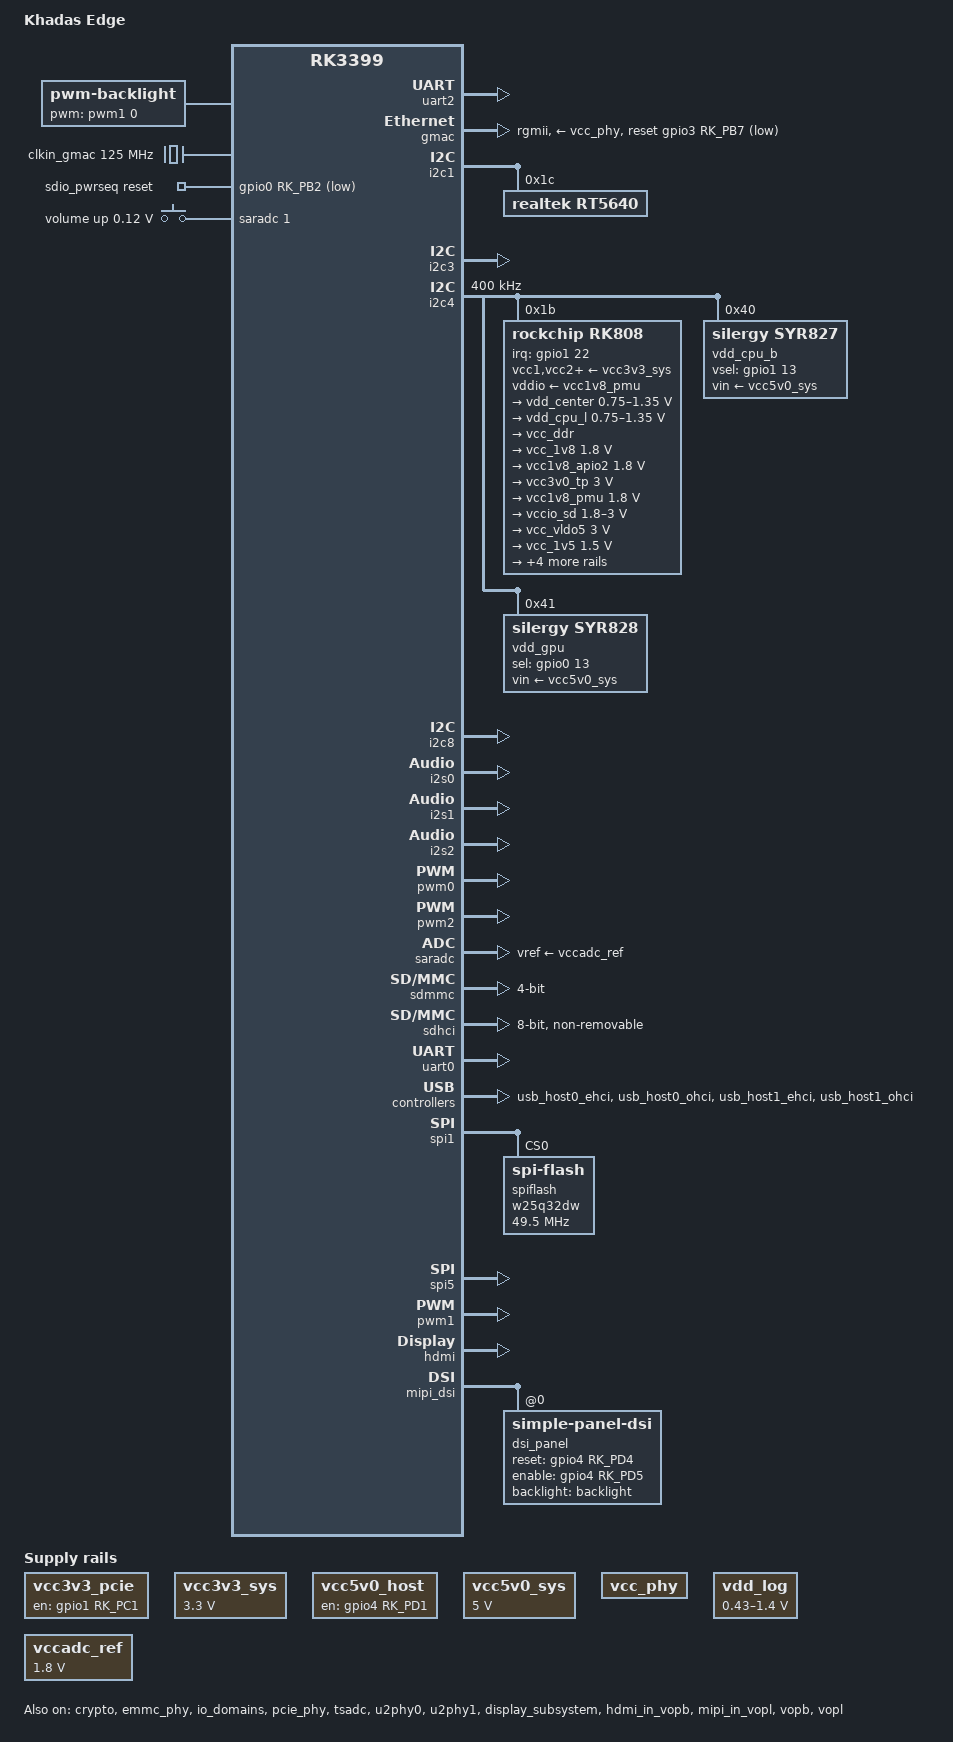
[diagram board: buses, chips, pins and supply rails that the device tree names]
/*
 * Copyright (c) 2018 Wesion Co., Ltd.
 *
 * SPDX-License-Identifier:     GPL-2.0+
 */

/dts-v1/;
#include <dt-bindings/pwm/pwm.h>
#include <dt-bindings/pinctrl/rockchip.h>
#include <dt-bindings/input/input.h>
#include <dt-bindings/media/rockchip_mipi_dsi.h>
#include "rk3399.dtsi"
#include "rk3399-sdram-ddr3-1600.dtsi"
#include "rk3399-u-boot.dtsi"

/ {
	model = "Khadas Edge";
	compatible = "khadas,edge", "rockchip,rk3399";

	aliases {
		spi0 = &spi1;
		spi1 = &spi5;
	};

	backlight: backlight {
		compatible = "pwm-backlight";
		//enable-gpios = <&gpio1 RK_PB5 GPIO_ACTIVE_HIGH>;
		pwms = <&pwm1 0 25000 0>;
		brightness-levels = <
			  0   1   2   3   4   5   6   7
			  8   9  10  11  12  13  14  15
			 16  17  18  19  20  21  22  23
			 24  25  26  27  28  29  30  31
			 32  33  34  35  36  37  38  39
			 40  41  42  43  44  45  46  47
			 48  49  50  51  52  53  54  55
			 56  57  58  59  60  61  62  63
			 64  65  66  67  68  69  70  71
			 72  73  74  75  76  77  78  79
			 80  81  82  83  84  85  86  87
			 88  89  90  91  92  93  94  95
			 96  97  98  99 100 101 102 103
			104 105 106 107 108 109 110 111
			112 113 114 115 116 117 118 119
			120 121 122 123 124 125 126 127
			128 129 130 131 132 133 134 135
			136 137 138 139 140 141 142 143
			144 145 146 147 148 149 150 151
			152 153 154 155 156 157 158 159
			160 161 162 163 164 165 166 167
			168 169 170 171 172 173 174 175
			176 177 178 179 180 181 182 183
			184 185 186 187 188 189 190 191
			192 193 194 195 196 197 198 199
			200 201 202 203 204 205 206 207
			208 209 210 211 212 213 214 215
			216 217 218 219 220 221 222 223
			224 225 226 227 228 229 230 231
			232 233 234 235 236 237 238 239
			240 241 242 243 244 245 246 247
			248 249 250 251 252 253 254 255>;
		default-brightness-level = <200>;
	};

	clkin_gmac: external-gmac-clock {
		compatible = "fixed-clock";
		clock-frequency = <125000000>;
		clock-output-names = "clkin_gmac";
		#clock-cells = <0>;
	};

	rt5640-sound {
		compatible = "simple-audio-card";
		simple-audio-card,name = "rockchip,rt5640-codec";
		simple-audio-card,format = "i2s";
		simple-audio-card,mclk-fs = <256>;
		simple-audio-card,widgets =
			"Microphone", "Mic Jack",
			"Headphone", "Headphone Jack";
		simple-audio-card,routing =
			"Mic Jack", "MICBIAS1",
			"IN1P", "Mic Jack",
			"Headphone Jack", "HPOL",
			"Headphone Jack", "HPOR";

		simple-audio-card,cpu {
			sound-dai = <&i2s1>;
		};

		simple-audio-card,codec {
			sound-dai = <&rt5640>;
		};
	};

	sdio_pwrseq: sdio-pwrseq {
		compatible = "mmc-pwrseq-simple";
		clocks = <&rk808 1>;
		clock-names = "ext_clock";
		pinctrl-names = "default";
		pinctrl-0 = <&wifi_enable_h>;

		/*
		 * On the module itself this is one of these (depending
		 * on the actual card populated):
		 * - SDIO_RESET_L_WL_REG_ON
		 * - PDN (power down when low)
		 */
		reset-gpios = <&gpio0 RK_PB2 GPIO_ACTIVE_LOW>;
	};

	vcc3v3_pcie: vcc3v3-pcie-regulator {
		compatible = "regulator-fixed";
		enable-active-high;
		gpio = <&gpio1 RK_PC1 GPIO_ACTIVE_HIGH>;
		pinctrl-names = "default";
		pinctrl-0 = <&pcie_drv>;
		regulator-name = "vcc3v3_pcie";
		regulator-always-on;
		regulator-boot-on;
	};

	vcc3v3_sys: vcc3v3-sys {
		compatible = "regulator-fixed";
		regulator-name = "vcc3v3_sys";
		regulator-always-on;
		regulator-boot-on;
		regulator-min-microvolt = <3300000>;
		regulator-max-microvolt = <3300000>;
	};

	vcc5v0_host: vcc5v0-host-regulator {
		compatible = "regulator-fixed";
		enable-active-high;
		gpio = <&gpio4 RK_PD1 GPIO_ACTIVE_HIGH>;
		pinctrl-names = "default";
		pinctrl-0 = <&host_vbus_drv>;
		regulator-name = "vcc5v0_host";
		regulator-always-on;
	};

	vcc5v0_sys: vcc5v0-sys {
		compatible = "regulator-fixed";
		regulator-name = "vcc5v0_sys";
		regulator-always-on;
		regulator-boot-on;
		regulator-min-microvolt = <5000000>;
		regulator-max-microvolt = <5000000>;
	};

	vcc_phy: vcc-phy-regulator {
		compatible = "regulator-fixed";
		regulator-name = "vcc_phy";
		regulator-always-on;
		regulator-boot-on;
	};

	vdd_log: vdd-log {
		compatible = "pwm-regulator";
		pwms = <&pwm2 0 25000 1>;
		regulator-name = "vdd_log";
		regulator-always-on;
		regulator-boot-on;
		regulator-min-microvolt = <430000>;
		regulator-max-microvolt = <1400000>;
		regulator-init-microvolt = <950000>;
	};

	vccadc_ref: vccadc-ref {
		compatible = "regulator-fixed";
		regulator-name = "vcc1v8_sys";
		regulator-always-on;
		regulator-boot-on;
		regulator-min-microvolt = <1800000>;
		regulator-max-microvolt = <1800000>;
	};

	adc-keys {
		u-boot,dm-pre-reloc;
		compatible = "adc-keys";
		io-channels = <&saradc 1>;
		io-channel-names = "download";
		keyup-threshold-microvolt = <1800000>;

		vol-up-key {
			u-boot,dm-pre-reloc;
			linux,code = <KEY_VOLUMEUP>;
			label = "volume up";
			press-threshold-microvolt = <120000>;
		};
	};
};

&cpu_l0 {
	cpu-supply = <&vdd_cpu_l>;
};

&cpu_l1 {
	cpu-supply = <&vdd_cpu_l>;
};

&cpu_l2 {
	cpu-supply = <&vdd_cpu_l>;
};

&cpu_l3 {
	cpu-supply = <&vdd_cpu_l>;
};

&cpu_b0 {
	cpu-supply = <&vdd_cpu_b>;
};

&cpu_b1 {
	cpu-supply = <&vdd_cpu_b>;
};

&crypto {
	status = "okay";
};

&uart2 {
	status = "okay";
};

&emmc_phy {
	status = "okay";
};

&gmac {
	assigned-clocks = <&cru SCLK_RMII_SRC>;
	assigned-clock-parents = <&clkin_gmac>;
	clock_in_out = "input";
	phy-supply = <&vcc_phy>;
	phy-mode = "rgmii";
	pinctrl-names = "default";
	pinctrl-0 = <&rgmii_pins>;
	snps,reset-gpio = <&gpio3 RK_PB7 GPIO_ACTIVE_LOW>;
	snps,reset-active-low;
	snps,reset-delays-us = <0 10000 50000>;
	tx_delay = <0x33>;
	rx_delay = <0x45>;
	status = "okay";
};

&i2c1 {
	i2c-scl-rising-time-ns = <300>;
	i2c-scl-falling-time-ns = <15>;
	status = "okay";

	rt5640: rt5640@1c {
		compatible = "realtek,rt5640";
		reg = <0x1c>;
		clocks = <&cru SCLK_I2S_8CH_OUT>;
		clock-names = "mclk";
		realtek,in1-differential;
		#sound-dai-cells = <0>;
		pinctrl-names = "default";
		pinctrl-0 = <&rt5640_hpcon>;
	};
};

&i2c3 {
	i2c-scl-rising-time-ns = <450>;
	i2c-scl-falling-time-ns = <15>;
	status = "okay";
};

&i2c4 {
	clock-frequency = <400000>;
	i2c-scl-rising-time-ns = <168>;
	i2c-scl-falling-time-ns = <4>;
	status = "okay";

	rk808: pmic@1b {
		compatible = "rockchip,rk808";
		reg = <0x1b>;
		interrupt-parent = <&gpio1>;
		interrupts = <22 IRQ_TYPE_LEVEL_LOW>;
		pinctrl-names = "default";
		pinctrl-0 = <&pmic_int_l &pmic_dvs2>;
		rockchip,system-power-controller;
		wakeup-source;
		#clock-cells = <1>;
		clock-output-names = "rk808-clkout1", "rk808-clkout2";

		vcc1-supply = <&vcc3v3_sys>;
		vcc2-supply = <&vcc3v3_sys>;
		vcc3-supply = <&vcc3v3_sys>;
		vcc4-supply = <&vcc3v3_sys>;
		vcc6-supply = <&vcc3v3_sys>;
		vcc7-supply = <&vcc3v3_sys>;
		vcc8-supply = <&vcc3v3_sys>;
		vcc9-supply = <&vcc3v3_sys>;
		vcc10-supply = <&vcc3v3_sys>;
		vcc11-supply = <&vcc3v3_sys>;
		vcc12-supply = <&vcc3v3_sys>;
		vddio-supply = <&vcc1v8_pmu>;

		regulators {
			vdd_center: DCDC_REG1 {
				regulator-always-on;
				regulator-boot-on;
				regulator-min-microvolt = <750000>;
				regulator-max-microvolt = <1350000>;
				regulator-ramp-delay = <6001>;
				regulator-name = "vdd_center";
				regulator-state-mem {
					regulator-off-in-suspend;
				};
			};

			vdd_cpu_l: DCDC_REG2 {
				regulator-always-on;
				regulator-boot-on;
				regulator-min-microvolt = <750000>;
				regulator-max-microvolt = <1350000>;
				regulator-ramp-delay = <6001>;
				regulator-name = "vdd_cpu_l";
				regulator-state-mem {
					regulator-off-in-suspend;
				};
			};

			vcc_ddr: DCDC_REG3 {
				regulator-always-on;
				regulator-boot-on;
				regulator-name = "vcc_ddr";
				regulator-state-mem {
					regulator-on-in-suspend;
				};
			};

			vcc_1v8: DCDC_REG4 {
				regulator-always-on;
				regulator-boot-on;
				regulator-min-microvolt = <1800000>;
				regulator-max-microvolt = <1800000>;
				regulator-name = "vcc_1v8";
				regulator-state-mem {
					regulator-on-in-suspend;
					regulator-suspend-microvolt = <1800000>;
				};
			};

			vcc1v8_apio2: LDO_REG1 {
				regulator-always-on;
				regulator-boot-on;
				regulator-min-microvolt = <1800000>;
				regulator-max-microvolt = <1800000>;
				regulator-name = "vcc1v8_apio2";
				regulator-state-mem {
					regulator-off-in-suspend;
				};
			};

			vcc3v0_tp: LDO_REG2 {
				regulator-always-on;
				regulator-boot-on;
				regulator-min-microvolt = <3000000>;
				regulator-max-microvolt = <3000000>;
				regulator-name = "vcc3v0_tp";
				regulator-state-mem {
					regulator-off-in-suspend;
				};
			};

			vcc1v8_pmu: LDO_REG3 {
				regulator-always-on;
				regulator-boot-on;
				regulator-min-microvolt = <1800000>;
				regulator-max-microvolt = <1800000>;
				regulator-name = "vcc1v8_pmu";
				regulator-state-mem {
					regulator-on-in-suspend;
					regulator-suspend-microvolt = <1800000>;
				};
			};

			vccio_sd: LDO_REG4 {
				regulator-always-on;
				regulator-boot-on;
				regulator-min-microvolt = <1800000>;
				regulator-max-microvolt = <3000000>;
				regulator-name = "vccio_sd";
				regulator-state-mem {
					regulator-on-in-suspend;
					regulator-suspend-microvolt = <3000000>;
				};
			};

			vcc_vldo5: LDO_REG5 {
				regulator-always-on;
				regulator-boot-on;
				regulator-min-microvolt = <3000000>;
				regulator-max-microvolt = <3000000>;
				regulator-name = "vcc_vldo5";
				regulator-state-mem {
					regulator-off-in-suspend;
				};
			};

			vcc_1v5: LDO_REG6 {
				regulator-always-on;
				regulator-boot-on;
				regulator-min-microvolt = <1500000>;
				regulator-max-microvolt = <1500000>;
				regulator-name = "vcc_1v5";
				regulator-state-mem {
					regulator-on-in-suspend;
					regulator-suspend-microvolt = <1500000>;
				};
			};

			vcca1v8_codec: LDO_REG7 {
				regulator-always-on;
				regulator-boot-on;
				regulator-min-microvolt = <1800000>;
				regulator-max-microvolt = <1800000>;
				regulator-name = "vcca1v8_codec";
				regulator-state-mem {
					regulator-off-in-suspend;
				};
			};

			vcc_3v0: LDO_REG8 {
				regulator-always-on;
				regulator-boot-on;
				regulator-min-microvolt = <3000000>;
				regulator-max-microvolt = <3000000>;
				regulator-name = "vcc_3v0";
				regulator-state-mem {
					regulator-on-in-suspend;
					regulator-suspend-microvolt = <3000000>;
				};
			};

			vcc3v3_s3: SWITCH_REG1 {
				regulator-always-on;
				regulator-boot-on;
				regulator-name = "vcc3v3_s3";
				regulator-state-mem {
					regulator-off-in-suspend;
				};
			};

			vcc3v3_s0: SWITCH_REG2 {
				regulator-always-on;
				regulator-boot-on;
				regulator-name = "vcc3v3_s0";
				regulator-state-mem {
					regulator-off-in-suspend;
				};
			};
		};
	};

	vdd_cpu_b: syr827@40 {
		compatible = "silergy,syr827";
		reg = <0x40>;
		vin-supply = <&vcc5v0_sys>;
		regulator-compatible = "fan53555-reg";
		pinctrl-names = "default";
		pinctrl-0 = <&vsel1_gpio>;
		vsel-gpios = <&gpio1 13 GPIO_ACTIVE_HIGH>; /* GPIO1_B5 */
		regulator-name = "vdd_cpu_b";
		regulator-min-microvolt = <712500>;
		regulator-max-microvolt = <1500000>;
		regulator-ramp-delay = <1000>;
		fcs,suspend-voltage-selector = <1>;
		regulator-always-on;
		regulator-boot-on;
		regulator-initial-state = <3>;
			regulator-state-mem {
			regulator-off-in-suspend;
		};
	};

	vdd_gpu: syr828@41 {
		compatible = "silergy,syr828";
		reg = <0x41>;
		vin-supply = <&vcc5v0_sys>;
		regulator-compatible = "fan53555-reg";
		pinctrl-names = "default";
		pinctrl-0 = <&vsel2_gpio>;
		sel-gpios = <&gpio0 13 GPIO_ACTIVE_HIGH>;/* GPIO0_B5 */
		regulator-name = "vdd_gpu";
		regulator-min-microvolt = <712500>;
		regulator-max-microvolt = <1500000>;
		regulator-ramp-delay = <1000>;
		fcs,suspend-voltage-selector = <1>;
		regulator-always-on;
		regulator-boot-on;
		regulator-initial-state = <3>;
			regulator-state-mem {
			regulator-off-in-suspend;
		};
	};
};

&i2c8 {
	status = "okay";
};

&i2s0 {
	rockchip,playback-channels = <8>;
	rockchip,capture-channels = <8>;
	#sound-dai-cells = <0>;
	status = "okay";
};

&i2s1 {
	rockchip,playback-channels = <2>;
	rockchip,capture-channels = <2>;
	#sound-dai-cells = <0>;
	status = "okay";
};

&i2s2 {
	#sound-dai-cells = <0>;
	status = "okay";
};

&io_domains {
	status = "okay";

	bt656-supply = <&vcc1v8_apio2>;
	audio-supply = <&vcca1v8_codec>;
	sdmmc-supply = <&vccio_sd>;
	gpio1830-supply = <&vcc_3v0>;
};

&pcie_phy {
	status = "okay";
};

//&pcie0 {
//	ep-gpios = <&gpio4 RK_PD1 GPIO_ACTIVE_HIGH>;
//	num-lanes = <4>;
//	pinctrl-names = "default";
//	pinctrl-0 = <&pcie_clkreqn>;
//	status = "okay";
//};

&pmu_io_domains {
	pmu1830-supply = <&vcc_1v8>;
	status = "okay";
};

&pinctrl {
	buttons {
		pwrbtn: pwrbtn {
			rockchip,pins = <0 RK_PA5 RK_FUNC_GPIO &pcfg_pull_up>;
		};
	};

	lcd-panel {
		lcd_panel_reset: lcd-panel-reset {
			rockchip,pins = <4 RK_PD6 RK_FUNC_GPIO &pcfg_pull_up>;
		};
	};

	pcie {
		pcie_drv: pcie-drv {
			rockchip,pins = <1 RK_PC1 RK_FUNC_GPIO &pcfg_pull_none>;
		};

		pcie_3g_drv: pcie-3g-drv {
			rockchip,pins = <0 RK_PA2 RK_FUNC_GPIO &pcfg_pull_up>;
		};
	};

	pmic {
		vsel1_gpio: vsel1-gpio {
			rockchip,pins = <1 RK_PB5 RK_FUNC_GPIO &pcfg_pull_down>;
		};

		vsel2_gpio: vsel2-gpio {
			rockchip,pins = <0 RK_PB5 RK_FUNC_GPIO &pcfg_pull_down>;
		};
	};

	sdio-pwrseq {
		wifi_enable_h: wifi-enable-h {
			rockchip,pins = <0 RK_PB2 RK_FUNC_GPIO &pcfg_pull_none>;
		};
	};

	rt5640 {
		rt5640_hpcon: rt5640-hpcon {
			rockchip,pins = <4 RK_PC5 RK_FUNC_GPIO &pcfg_pull_none>;
		};
	};

	pmic {
		pmic_int_l: pmic-int-l {
			rockchip,pins =
				<1 22 RK_FUNC_GPIO &pcfg_pull_up>;
		};

		pmic_dvs2: pmic-dvs2 {
			rockchip,pins =
				<1 18 RK_FUNC_GPIO &pcfg_pull_down>;
		};
		vsel1_gpio: vsel1-gpio {
			rockchip,pins =
				<1 13 RK_FUNC_GPIO &pcfg_pull_down>;
		};
		vsel2_gpio: vsel2-gpio {
			rockchip,pins =
				 <0 13 RK_FUNC_GPIO &pcfg_pull_down>;
		};
	};

	usb2 {
		host_vbus_drv: host-vbus-drv {
			rockchip,pins = <4 RK_PD1 RK_FUNC_GPIO &pcfg_pull_up>;
		};
	};
};

&pwm0 {
	status = "okay";
};

&pwm2 {
	status = "okay";
};

&saradc {
	vref-supply = <&vccadc_ref>;
	status = "okay";
};

&sdmmc {
	bus-width = <4>;
	status = "okay";
};

&sdhci {
	bus-width = <8>;
	keep-power-in-suspend;
	mmc-hs400-1_8v;
	mmc-hs400-enhanced-strobe;
	non-removable;
	status = "okay";
};

&tsadc {
	/* tshut mode 0:CRU 1:GPIO */
	rockchip,hw-tshut-mode = <1>;
	/* tshut polarity 0:LOW 1:HIGH */
	rockchip,hw-tshut-polarity = <1>;
	status = "okay";
};

&u2phy0 {
	status = "okay";

	u2phy0_otg: otg-port {
		status = "okay";
	};

	u2phy0_host: host-port {
		phy-supply = <&vcc5v0_host>;
		status = "okay";
	};
};

&u2phy1 {
	status = "okay";

	u2phy1_otg: otg-port {
		status = "okay";
	};

	u2phy1_host: host-port {
		phy-supply = <&vcc5v0_host>;
		status = "okay";
	};
};

&uart0 {
	pinctrl-names = "default";
	pinctrl-0 = <&uart0_xfer &uart0_cts>;
	status = "okay";
};

&usb_host0_ehci {
	status = "okay";
};

&usb_host0_ohci {
	status = "okay";
};

&usb_host1_ehci {
	status = "okay";
};

&usb_host1_ohci {
	status = "okay";
};

&spi1 {
   u-boot,dm-pre-reloc;

   status = "okay";

   #address-cells = <1>;
   #size-cells = <0>;

   spiflash: w25q32dw@0 {
       u-boot,dm-pre-reloc;

       compatible = "spi-flash";
       reg = <0>;
       spi-max-frequency = <49500000>;
       spi-cpol;
       spi-cpha;
   };
};

&spi5 {
   status = "okay";
};

&pwm1 {
	status = "okay";
};

&display_subsystem {
    status = "okay";

    ports = <&vopb_out>, <&vopl_out>;
    route {
        route_hdmi: route-hdmi {
            status = "disabled";
            logo,uboot = "logo.bmp";
            logo,kernel = "logo_kernel.bmp";
            logo,mode = "center";
            charge_logo,mode = "center";
            connect = <&vopb_out_hdmi>;
        };

        route_dsi: route-dsi {
            status = "disabled";
            logo,uboot = "logo.bmp";
            logo,kernel = "logo_kernel.bmp";
            logo,mode = "center";
            charge_logo,mode = "center";
            connect = <&vopb_out_mipi>;
        };

        route_edp: route-edp {
            status = "disabled";
            logo,uboot = "logo.bmp";
            logo,kernel = "logo_kernel.bmp";
            logo,mode = "center";
            charge_logo,mode = "center";
            connect = <&vopb_out_edp>;
        };
    };
};


&hdmi {
	#address-cells = <1>;
	#size-cells = <0>;
	#sound-dai-cells = <0>;
	ddc-i2c-scl-high-time-ns = <9625>;
	ddc-i2c-scl-low-time-ns = <10000>;
	status = "okay";
};

&route_hdmi {
	status = "okay";
	connect = <&vopb_out_hdmi>;
};

&route_dsi {
	status = "okay";
	connect = <&vopl_out_mipi>;
};

&hdmi_in_vopb {
	status = "okay";
};

&hdmi_in_vopl {
	status = "disabled";
};

&mipi_in_vopb {
	status = "disabled";
};

&mipi_in_vopl {
	status = "okay";
};

&vopb {
	status = "okay";
//	assigned-clocks = <&cru DCLK_VOP0_DIV>;
//	assigned-clock-parents = <&cru PLL_VPLL>;
};

&vopl {
	status = "okay";
//	assigned-clocks = <&cru DCLK_VOP1_DIV>;
//	assigned-clock-parents = <&cru PLL_CPLL>;
};


&mipi_dsi {
	compatible = "rockchip,rk3399-mipi-dsi";
    status = "okay";
    rockchip,lane-rate = <1000>;
    dsi_panel: panel@0 {
        status = "okay";
        compatible = "simple-panel-dsi";
        reg = <0>;
        backlight = <&backlight>;
        reset-gpios = <&gpio4 RK_PD4 GPIO_ACTIVE_HIGH>; /* GPIO4_D4 */
        enable-gpios = <&gpio4 RK_PD5 GPIO_ACTIVE_HIGH>; /* GPIO4_D5 */
        reset-delay-ms = <10>;
        enable-delay-ms = <60>;
        prepare-delay-ms = <60>;
        unprepare-delay-ms = <60>;
        disable-delay-ms = <60>;
        dsi,flags = <(MIPI_DSI_MODE_VIDEO | MIPI_DSI_MODE_VIDEO_BURST |
                  MIPI_DSI_MODE_LPM | MIPI_DSI_MODE_EOT_PACKET)>;

		dsi,format = <MIPI_DSI_FMT_RGB888>;
        dsi,lanes  = <4>;
        panel-init-sequence = [
			15 00 02  FF 05
			15 00 02  FB 01
			15 64 02  C5 01
			15 00 02  FF EE
			15 00 02  FB 01
			15 00 02  1F 45
			15 00 02  24 4F
			15 00 02  38 C8
			15 00 02  39 27
			15 00 02  1E 77
			15 00 02  1D 0F
			15 00 02  7E 71
			15 00 02  7C 03
			15 00 02  FF 00
			15 00 02  FB 01
			15 00 02  35  01
			15 00 02  FF  01
			15 00 02  FB  01
			15 00 02  00  01
			15 00 02  01  55
			15 00 02  02  40
			15 00 02  05  40
			15 00 02  06  4A
			15 00 02  07  24
			15 00 02  08  0C
			15 00 02  0B  7D
			15 00 02  0C  7D
			15 00 02  0E  B0
			15 00 02  0F  AE
			15 00 02  11  10
			15 00 02  12  10
			15 00 02  13  03
			15 00 02  14  4A
			15 00 02  15  12
			15 00 02  16  12
			15 00 02  18  00
			15 00 02  19  77
			15 00 02  1A  55
			15 00 02  1B  13
			15 00 02  1C  00
			15 00 02  1D  00
			15 00 02  1E  13
			15 00 02  1F  00
			15 00 02  23  00
			15 00 02  24  00
			15 00 02  25  00
			15 00 02  26  00
			15 00 02  27  00
			15 00 02  28  00
			15 00 02  35  00
			15 00 02  66  00
			15 00 02  58  82
			15 00 02  59  02
			15 00 02  5A  02
			15 00 02  5B  02
			15 00 02  5C  82
			15 00 02  5D  82
			15 00 02  5E  02
			15 00 02  5F  02
			15 00 02  72  31
			15 00 02  FF  05
			15 00 02  FB  01
			15 00 02  00  01
			15 00 02  01  0B
			15 00 02  02  0C
			15 00 02  03  09
			15 00 02  04  0A
			15 00 02  05  00
			15 00 02  06  0F
			15 00 02  07  10
			15 00 02  08  00
			15 00 02  09  00
			15 00 02  0A  00
			15 00 02  0B  00
			15 00 02  0C  00
			15 00 02  0D  13
			15 00 02  0E  15
			15 00 02  0F  17
			15 00 02  10  01
			15 00 02  11  0B
			15 00 02  12  0C
			15 00 02  13  09
			15 00 02  14  0A
			15 00 02  15  00
			15 00 02  16  0F
			15 00 02  17  10
			15 00 02  18  00
			15 00 02  19  00
			15 00 02  1A  00
			15 00 02  1B  00
			15 00 02  1C  00
			15 00 02  1D  13
			15 00 02  1E  15
			15 00 02  1F  17
			15 00 02  20  00
			15 00 02  21  03
			15 00 02  22  01
			15 00 02  23  40
			15 00 02  24  40
			15 00 02  25  ED
			15 00 02  29  58
			15 00 02  2A  12
			15 00 02  2B  01
			15 00 02  4B  06
			15 00 02  4C  11
			15 00 02  4D  20
			15 00 02  4E  02
			15 00 02  4F  02
			15 00 02  50  20
			15 00 02  51  61
			15 00 02  52  01
			15 00 02  53  63
			15 00 02  54  77
			15 00 02  55  ED
			15 00 02  5B  00
			15 00 02  5C  00
			15 00 02  5D  00
			15 00 02  5E  00
			15 00 02  5F  15
			15 00 02  60  75
			15 00 02  61  00
			15 00 02  62  00
			15 00 02  63  00
			15 00 02  64  00
			15 00 02  65  00
			15 00 02  66  00
			15 00 02  67  00
			15 00 02  68  04
			15 00 02  69  00
			15 00 02  6A  00
			15 00 02  6C  40
			15 00 02  75  01
			15 00 02  76  01
			15 00 02  7A  80
			15 00 02  7B  A3
			15 00 02  7C  D8
			15 00 02  7D  60
			15 00 02  7F  15
			15 00 02  80  81
			15 00 02  83  05
			15 00 02  93  08
			15 00 02  94  10
			15 00 02  8A  00
			15 00 02  9B  0F
			15 00 02  EA  FF
			15 00 02  EC  00
			15 00 02  FF  01
			15 00 02  FB  01
			15 00 02  75  00
			15 00 02  76  DF
			15 00 02  77  00
			15 00 02  78  E4
			15 00 02  79  00
			15 00 02  7A  ED
			15 00 02  7B  00
			15 00 02  7C  F6
			15 00 02  7D  00
			15 00 02  7E  FF
			15 00 02  7F  01
			15 00 02  80  07
			15 00 02  81  01
			15 00 02  82  10
			15 00 02  83  01
			15 00 02  84  18
			15 00 02  85  01
			15 00 02  86  20
			15 00 02  87  01
			15 00 02  88  3D
			15 00 02  89  01
			15 00 02  8A  56
			15 00 02  8B  01
			15 00 02  8C  84
			15 00 02  8D  01
			15 00 02  8E  AB
			15 00 02  8F  01
			15 00 02  90  EC
			15 00 02  91  02
			15 00 02  92  22
			15 00 02  93  02
			15 00 02  94  23
			15 00 02  95  02
			15 00 02  96  55
			15 00 02  97  02
			15 00 02  98  8B
			15 00 02  99  02
			15 00 02  9A  AF
			15 00 02  9B  02
			15 00 02  9C  DF
			15 00 02  9D  03
			15 00 02  9E  01
			15 00 02  9F  03
			15 00 02  A0  2C
			15 00 02  A2  03
			15 00 02  A3  39
			15 00 02  A4  03
			15 00 02  A5  47
			15 00 02  A6  03
			15 00 02  A7  56
			15 00 02  A9  03
			15 00 02  AA  66
			15 00 02  AB  03
			15 00 02  AC  76
			15 00 02  AD  03
			15 00 02  AE  85
			15 00 02  AF  03
			15 00 02  B0  90
			15 00 02  B1  03
			15 00 02  B2  CB
			15 00 02  B3  00
			15 00 02  B4  DF
			15 00 02  B5  00
			15 00 02  B6  E4
			15 00 02  B7  00
			15 00 02  B8  ED
			15 00 02  B9  00
			15 00 02  BA  F6
			15 00 02  BB  00
			15 00 02  BC  FF
			15 00 02  BD  01
			15 00 02  BE  07
			15 00 02  BF  01
			15 00 02  C0  10
			15 00 02  C1  01
			15 00 02  C2  18
			15 00 02  C3  01
			15 00 02  C4  20
			15 00 02  C5  01
			15 00 02  C6  3D
			15 00 02  C7  01
			15 00 02  C8  56
			15 00 02  C9  01
			15 00 02  CA  84
			15 00 02  CB  01
			15 00 02  CC  AB
			15 00 02  CD  01
			15 00 02  CE  EC
			15 00 02  CF  02
			15 00 02  D0  22
			15 00 02  D1  02
			15 00 02  D2  23
			15 00 02  D3  02
			15 00 02  D4  55
			15 00 02  D5  02
			15 00 02  D6  8B
			15 00 02  D7  02
			15 00 02  D8  AF
			15 00 02  D9  02
			15 00 02  DA  DF
			15 00 02  DB  03
			15 00 02  DC  01
			15 00 02  DD  03
			15 00 02  DE  2C
			15 00 02  DF  03
			15 00 02  E0  39
			15 00 02  E1  03
			15 00 02  E2  47
			15 00 02  E3  03
			15 00 02  E4  56
			15 00 02  E5  03
			15 00 02  E6  66
			15 00 02  E7  03
			15 00 02  E8  76
			15 00 02  E9  03
			15 00 02  EA  85
			15 00 02  EB  03
			15 00 02  EC  90
			15 00 02  ED  03
			15 00 02  EE  CB
			15 00 02  EF  00
			15 00 02  F0  BB
			15 00 02  F1  00
			15 00 02  F2  C0
			15 00 02  F3  00
			15 00 02  F4  CC
			15 00 02  F5  00
			15 00 02  F6  D6
			15 00 02  F7  00
			15 00 02  F8  E1
			15 00 02  F9  00
			15 00 02  FA  EA
			15 00 02  FF  02
			15 00 02  FB  01
			15 00 02  00  00
			15 00 02  01  F4
			15 00 02  02  00
			15 00 02  03  EF
			15 00 02  04  01
			15 00 02  05  07
			15 00 02  06  01
			15 00 02  07  28
			15 00 02  08  01
			15 00 02  09  44
			15 00 02  0A  01
			15 00 02  0B  76
			15 00 02  0C  01
			15 00 02  0D  A0
			15 00 02  0E  01
			15 00 02  0F  E7
			15 00 02  10  02
			15 00 02  11  1F
			15 00 02  12  02
			15 00 02  13  22
			15 00 02  14  02
			15 00 02  15  54
			15 00 02  16  02
			15 00 02  17  8B
			15 00 02  18  02
			15 00 02  19  AF
			15 00 02  1A  02
			15 00 02  1B  E0
			15 00 02  1C  03
			15 00 02  1D  01
			15 00 02  1E  03
			15 00 02  1F  2D
			15 00 02  20  03
			15 00 02  21  39
			15 00 02  22  03
			15 00 02  23  47
			15 00 02  24  03
			15 00 02  25  57
			15 00 02  26  03
			15 00 02  27  65
			15 00 02  28  03
			15 00 02  29  77
			15 00 02  2A  03
			15 00 02  2B  85
			15 00 02  2D  03
			15 00 02  2F  8F
			15 00 02  30  03
			15 00 02  31  CB
			15 00 02  32  00
			15 00 02  33  BB
			15 00 02  34  00
			15 00 02  35  C0
			15 00 02  36  00
			15 00 02  37  CC
			15 00 02  38  00
			15 00 02  39  D6
			15 00 02  3A  00
			15 00 02  3B  E1
			15 00 02  3D  00
			15 00 02  3F  EA
			15 00 02  40  00
			15 00 02  41  F4
			15 00 02  42  00
			15 00 02  43  FE
			15 00 02  44  01
			15 00 02  45  07
			15 00 02  46  01
			15 00 02  47  28
			15 00 02  48  01
			15 00 02  49  44
			15 00 02  4A  01
			15 00 02  4B  76
			15 00 02  4C  01
			15 00 02  4D  A0
			15 00 02  4E  01
			15 00 02  4F  E7
			15 00 02  50  02
			15 00 02  51  1F
			15 00 02  52  02
			15 00 02  53  22
			15 00 02  54  02
			15 00 02  55  54
			15 00 02  56  02
			15 00 02  58  8B
			15 00 02  59  02
			15 00 02  5A  AF
			15 00 02  5B  02
			15 00 02  5C  E0
			15 00 02  5D  03
			15 00 02  5E  01
			15 00 02  5F  03
			15 00 02  60  2D
			15 00 02  61  03
			15 00 02  62  39
			15 00 02  63  03
			15 00 02  64  47
			15 00 02  65  03
			15 00 02  66  57
			15 00 02  67  03
			15 00 02  68  65
			15 00 02  69  03
			15 00 02  6A  77
			15 00 02  6B  03
			15 00 02  6C  85
			15 00 02  6D  03
			15 00 02  6E  8F
			15 00 02  6F  03
			15 00 02  70  CB
			15 00 02  71  00
			15 00 02  72  00
			15 00 02  73  00
			15 00 02  74  21
			15 00 02  75  00
			15 00 02  76  4C
			15 00 02  77  00
			15 00 02  78  6B
			15 00 02  79  00
			15 00 02  7A  85
			15 00 02  7B  00
			15 00 02  7C  9A
			15 00 02  7D  00
			15 00 02  7E  AD
			15 00 02  7F  00
			15 00 02  80  BE
			15 00 02  81  00
			15 00 02  82  CD
			15 00 02  83  01
			15 00 02  84  01
			15 00 02  85  01
			15 00 02  86  29
			15 00 02  87  01
			15 00 02  88  68
			15 00 02  89  01
			15 00 02  8A  98
			15 00 02  8B  01
			15 00 02  8C  E5
			15 00 02  8D  02
			15 00 02  8E  1E
			15 00 02  8F  02
			15 00 02  90  30
			15 00 02  91  02
			15 00 02  92  52
			15 00 02  93  02
			15 00 02  94  88
			15 00 02  95  02
			15 00 02  96  AA
			15 00 02  97  02
			15 00 02  98  D7
			15 00 02  99  02
			15 00 02  9A  F7
			15 00 02  9B  03
			15 00 02  9C  21
			15 00 02  9D  03
			15 00 02  9E  2E
			15 00 02  9F  03
			15 00 02  A0  3D
			15 00 02  A2  03
			15 00 02  A3  4C
			15 00 02  A4  03
			15 00 02  A5  5E
			15 00 02  A6  03
			15 00 02  A7  71
			15 00 02  A9  03
			15 00 02  AA  86
			15 00 02  AB  03
			15 00 02  AC  94
			15 00 02  AD  03
			15 00 02  AE  FA
			15 00 02  AF  00
			15 00 02  B0  00
			15 00 02  B1  00
			15 00 02  B2  21
			15 00 02  B3  00
			15 00 02  B4  4C
			15 00 02  B5  00
			15 00 02  B6  6B
			15 00 02  B7  00
			15 00 02  B8  85
			15 00 02  B9  00
			15 00 02  BA  9A
			15 00 02  BB  00
			15 00 02  BC  AD
			15 00 02  BD  00
			15 00 02  BE  BE
			15 00 02  BF  00
			15 00 02  C0  CD
			15 00 02  C1  01
			15 00 02  C2  01
			15 00 02  C3  01
			15 00 02  C4  29
			15 00 02  C5  01
			15 00 02  C6  68
			15 00 02  C7  01
			15 00 02  C8  98
			15 00 02  C9  01
			15 00 02  CA  E5
			15 00 02  CB  02
			15 00 02  CC  1E
			15 00 02  CD  02
			15 00 02  CE  20
			15 00 02  CF  02
			15 00 02  D0  52
			15 00 02  D1  02
			15 00 02  D2  88
			15 00 02  D3  02
			15 00 02  D4  AA
			15 00 02  D5  02
			15 00 02  D6  D7
			15 00 02  D7  02
			15 00 02  D8  F7
			15 00 02  D9  03
			15 00 02  DA  21
			15 00 02  DB  03
			15 00 02  DC  2E
			15 00 02  DD  03
			15 00 02  DE  3D
			15 00 02  DF  03
			15 00 02  E0  4C
			15 00 02  E1  03
			15 00 02  E2  5E
			15 00 02  E3  03
			15 00 02  E4  71
			15 00 02  E5  03
			15 00 02  E6  86
			15 00 02  E7  03
			15 00 02  E8  94
			15 00 02  E9  03
			15 00 02  EA  FA
			15 00 02  FF  01
			15 00 02  FB  01
			15 00 02  FF  02
			15 00 02  FB  01
			15 00 02  FF  04
			15 00 02  FB  01
			15 00 02  FF  00
			15 00 02  D3  05
			15 00 02  D4  04
			05 78 01  11
			15 00 02  FF  00
			15 00 02  35  00
			05 0A 01  29
		];
		panel-exit-sequence = [
			05 05 01 28
			05 78 01 10
		];

        disp_timings: display-timings {
            native-mode = <&timing0>;
            timing0: timing0 {
                clock-frequency = <120000000>;
                hactive = <1080>;
                hfront-porch = <104>;
                hback-porch = <127>;
                hsync-len = <4>; /////
                vactive = <1920>;
                vfront-porch = <4>;
                vback-porch = <3>;
                vsync-len = <2>; /////
                hsync-active = <0>;
                vsync-active = <0>;
                de-active = <0>;
                pixelclk-active = <0>;
            };
        };
    };
};
